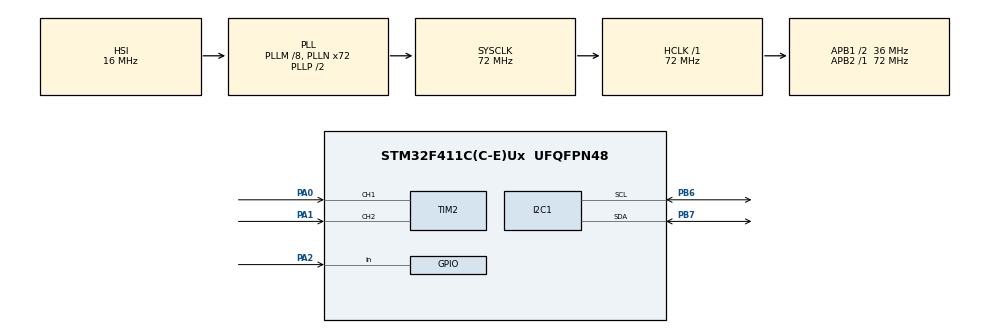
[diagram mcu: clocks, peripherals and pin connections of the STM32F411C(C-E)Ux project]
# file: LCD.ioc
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Mcu.Family=STM32F4
Mcu.Name=STM32F411C(C-E)Ux
Mcu.Package=UFQFPN48
NVIC.PriorityGroup=NVIC_PRIORITYGROUP_4
PA0-WKUP.Signal=S_TIM2_CH1_ETR
PA1.Signal=S_TIM2_CH2
PA13.Mode=Serial_Wire
PA13.Signal=SYS_JTMS-SWDIO
PA14.Mode=Serial_Wire
PA14.Signal=SYS_JTCK-SWCLK
PA2.GPIO_PuPd=GPIO_PULLUP
PA2.Signal=GPIO_Input
PB6.Mode=I2C
PB6.Signal=I2C1_SCL
PB7.Mode=I2C
PB7.Signal=I2C1_SDA
PH0\ -\ OSC_IN.Mode=HSE-External-Oscillator
PH0\ -\ OSC_IN.Signal=RCC_OSC_IN
PH1\ -\ OSC_OUT.Mode=HSE-External-Oscillator
PH1\ -\ OSC_OUT.Signal=RCC_OSC_OUT
ProjectManager.HeapSize=0x200
ProjectManager.StackSize=0x400
ProjectManager.TargetToolchain=STM32CubeIDE
RCC.48MHZClocksFreq_Value=36000000
RCC.AHBFreq_Value=72000000
RCC.APB1CLKDivider=RCC_HCLK_DIV2
RCC.APB1Freq_Value=36000000
RCC.APB1TimFreq_Value=72000000
RCC.APB2Freq_Value=72000000
RCC.APB2TimFreq_Value=72000000
RCC.CortexFreq_Value=72000000
RCC.HCLKFreq_Value=72000000
RCC.HSE_VALUE=25000000
RCC.HSI_VALUE=16000000
RCC.LSE_VALUE=32768
RCC.PLLM=8
RCC.PLLN=72
RCC.SYSCLKFreq_VALUE=72000000
RCC.SYSCLKSource=RCC_SYSCLKSOURCE_PLLCLK
RCC.VCOOutputFreq_Value=144000000
SH.S_TIM2_CH1_ETR.0=TIM2_CH1,Encoder_Interface
SH.S_TIM2_CH2.0=TIM2_CH2,Encoder_Interface
TIM2.EncoderMode=TIM_ENCODERMODE_TI12
TIM2.IC1Filter=10
board=custom

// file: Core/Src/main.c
/* USER CODE BEGIN Header */
/**
  ******************************************************************************
  * @file           : main.c
  * @brief          : Main program body
  ******************************************************************************
  * @attention
  *
  * Copyright (c) 2023 STMicroelectronics.
  * All rights reserved.
  *
  * This software is licensed under terms that can be found in the LICENSE file
  * in the root directory of this software component.
  * If no LICENSE file comes with this software, it is provided AS-IS.
  *
  ******************************************************************************
  */
/* USER CODE END Header */
#include "main.h"

/* USER CODE BEGIN Includes */
#include "LCD_I2C.h"
#include "string.h"

/* USER CODE END Includes */

/* USER CODE BEGIN PD */
#define SLAVE_ADDRESS 0X27
/* USER CODE END PD */

I2C_HandleTypeDef hi2c1;

TIM_HandleTypeDef htim2;

/* USER CODE BEGIN PV */
LCD_I2C_HandleTypeDef P_LCD;

char data[9] = "00000000";
int32_t rate = 0;
uint8_t condition = 0;

uint8_t current_state = 1;
uint8_t last_state = 1;
uint8_t deboucing_state = 1;
uint8_t is_deboucing = 0;
uint32_t deboucing_timer = 0;
/* USER CODE END PV */

void SystemClock_Config(void);
static void MX_GPIO_Init(void);
static void MX_I2C1_Init(void);
static void MX_TIM2_Init(void);

/* USER CODE BEGIN 0 */
void BUTTON_Handel()
{
	// detecting
	uint8_t temp_state = HAL_GPIO_ReadPin(GPIOA, GPIO_PIN_2);
	if(temp_state != deboucing_state)
	{
		deboucing_state = temp_state;
		deboucing_timer = HAL_GetTick();
		is_deboucing = 1;
	}

	// deboucing
	if(is_deboucing == 1 && (HAL_GetTick() - deboucing_timer) > 15)
	{
		current_state = deboucing_state;
		is_deboucing = 0;
	}

	if(current_state != last_state)
	{
		if(current_state == 0)
		{
			condition = 1;
		}
		else
		{
			condition = 0;
		}
		last_state = current_state;
	}
}
/* USER CODE END 0 */

int main(void)
{

  /* MCU Configuration--------------------------------------------------------*/

  /* Reset of all peripherals, Initializes the Flash interface and the Systick. */
  HAL_Init();

  /* Configure the system clock */
  SystemClock_Config();

  /* Initialize all configured peripherals */
  MX_GPIO_Init();
  MX_I2C1_Init();
  MX_TIM2_Init();
  /* USER CODE BEGIN 2 */
  LCD_I2C_Init(&P_LCD, &hi2c1, 20, 4, SLAVE_ADDRESS<<1);
  HAL_TIM_Encoder_Start(&htim2, TIM_CHANNEL_ALL);
  LCD_Set_Clear(&P_LCD);
  LCD_Set_Cursor(&P_LCD, 0, 0);
  LCD_Send_String(&P_LCD, "RES:");
  LCD_Set_Cursor(&P_LCD, 0, 1);
  LCD_Send_String(&P_LCD, "SET:");
  LCD_Set_Cursor(&P_LCD, 6, 1);
  LCD_Send_String(&P_LCD, &data);
  /* USER CODE END 2 */

  /* Infinite loop */
  while (1)
  {

    /* USER CODE BEGIN 3 */
	  BUTTON_Handel();
	  rate = (TIM2 -> CNT) >> 2;
	  if(rate > 10000)
	  {
		  LCD_Set_Cursor(&P_LCD, 0, 2);
		  LCD_Send_String(&P_LCD, "PLEASE REVERSE!!!");
	  }
	  else
	  {
		  LCD_Set_Cursor(&P_LCD, 0, 2);
		  LCD_Send_String(&P_LCD, "                 ");
		  int8_t temp = 0;
		  for(int i = 0; i < 8; i++)
		  {
			  temp = rate%(10);
			  data[8 - 1 -i] = temp + 48;
			  rate /= 10;
		  }
		  LCD_Set_Cursor(&P_LCD, 6, 0);
		  LCD_Send_String(&P_LCD, &data);
	  }
	  if(condition)
	  {
		  LCD_Set_Cursor(&P_LCD, 6, 1);
		  LCD_Send_String(&P_LCD, &data);
	  }
  }
  /* USER CODE END 3 */
}

void SystemClock_Config(void)
{
  RCC_OscInitTypeDef RCC_OscInitStruct = {0};
  RCC_ClkInitTypeDef RCC_ClkInitStruct = {0};

  /** Configure the main internal regulator output voltage
  */
  __HAL_RCC_PWR_CLK_ENABLE();
  __HAL_PWR_VOLTAGESCALING_CONFIG(PWR_REGULATOR_VOLTAGE_SCALE1);

  /** Initializes the RCC Oscillators according to the specified parameters
  * in the RCC_OscInitTypeDef structure.
  */
  RCC_OscInitStruct.OscillatorType = RCC_OSCILLATORTYPE_HSI;
  RCC_OscInitStruct.HSIState = RCC_HSI_ON;
  RCC_OscInitStruct.HSICalibrationValue = RCC_HSICALIBRATION_DEFAULT;
  RCC_OscInitStruct.PLL.PLLState = RCC_PLL_ON;
  RCC_OscInitStruct.PLL.PLLSource = RCC_PLLSOURCE_HSI;
  RCC_OscInitStruct.PLL.PLLM = 8;
  RCC_OscInitStruct.PLL.PLLN = 72;
  RCC_OscInitStruct.PLL.PLLP = RCC_PLLP_DIV2;
  RCC_OscInitStruct.PLL.PLLQ = 4;
  if (HAL_RCC_OscConfig(&RCC_OscInitStruct) != HAL_OK)
  {
    Error_Handler();
  }

  /** Initializes the CPU, AHB and APB buses clocks
  */
  RCC_ClkInitStruct.ClockType = RCC_CLOCKTYPE_HCLK|RCC_CLOCKTYPE_SYSCLK
                              |RCC_CLOCKTYPE_PCLK1|RCC_CLOCKTYPE_PCLK2;
  RCC_ClkInitStruct.SYSCLKSource = RCC_SYSCLKSOURCE_PLLCLK;
  RCC_ClkInitStruct.AHBCLKDivider = RCC_SYSCLK_DIV1;
  RCC_ClkInitStruct.APB1CLKDivider = RCC_HCLK_DIV2;
  RCC_ClkInitStruct.APB2CLKDivider = RCC_HCLK_DIV1;

  if (HAL_RCC_ClockConfig(&RCC_ClkInitStruct, FLASH_LATENCY_2) != HAL_OK)
  {
    Error_Handler();
  }
}

static void MX_I2C1_Init(void)
{

  hi2c1.Instance = I2C1;
  hi2c1.Init.ClockSpeed = 100000;
  hi2c1.Init.DutyCycle = I2C_DUTYCYCLE_2;
  hi2c1.Init.OwnAddress1 = 0;
  hi2c1.Init.AddressingMode = I2C_ADDRESSINGMODE_7BIT;
  hi2c1.Init.DualAddressMode = I2C_DUALADDRESS_DISABLE;
  hi2c1.Init.OwnAddress2 = 0;
  hi2c1.Init.GeneralCallMode = I2C_GENERALCALL_DISABLE;
  hi2c1.Init.NoStretchMode = I2C_NOSTRETCH_DISABLE;
  if (HAL_I2C_Init(&hi2c1) != HAL_OK)
  {
    Error_Handler();
  }

}

static void MX_TIM2_Init(void)
{

  TIM_Encoder_InitTypeDef sConfig = {0};
  TIM_MasterConfigTypeDef sMasterConfig = {0};

  htim2.Instance = TIM2;
  htim2.Init.Prescaler = 0;
  htim2.Init.CounterMode = TIM_COUNTERMODE_UP;
  htim2.Init.Period = 4294967295;
  htim2.Init.ClockDivision = TIM_CLOCKDIVISION_DIV1;
  htim2.Init.AutoReloadPreload = TIM_AUTORELOAD_PRELOAD_DISABLE;
  sConfig.EncoderMode = TIM_ENCODERMODE_TI12;
  sConfig.IC1Polarity = TIM_ICPOLARITY_RISING;
  sConfig.IC1Selection = TIM_ICSELECTION_DIRECTTI;
  sConfig.IC1Prescaler = TIM_ICPSC_DIV1;
  sConfig.IC1Filter = 10;
  sConfig.IC2Polarity = TIM_ICPOLARITY_RISING;
  sConfig.IC2Selection = TIM_ICSELECTION_DIRECTTI;
  sConfig.IC2Prescaler = TIM_ICPSC_DIV1;
  sConfig.IC2Filter = 0;
  if (HAL_TIM_Encoder_Init(&htim2, &sConfig) != HAL_OK)
  {
    Error_Handler();
  }
  sMasterConfig.MasterOutputTrigger = TIM_TRGO_RESET;
  sMasterConfig.MasterSlaveMode = TIM_MASTERSLAVEMODE_DISABLE;
  if (HAL_TIMEx_MasterConfigSynchronization(&htim2, &sMasterConfig) != HAL_OK)
  {
    Error_Handler();
  }

}

static void MX_GPIO_Init(void)
{
  GPIO_InitTypeDef GPIO_InitStruct = {0};

  /* GPIO Ports Clock Enable */
  __HAL_RCC_GPIOH_CLK_ENABLE();
  __HAL_RCC_GPIOA_CLK_ENABLE();
  __HAL_RCC_GPIOB_CLK_ENABLE();

  /*Configure GPIO pin : PA2 */
  GPIO_InitStruct.Pin = GPIO_PIN_2;
  GPIO_InitStruct.Mode = GPIO_MODE_INPUT;
  GPIO_InitStruct.Pull = GPIO_PULLUP;
  HAL_GPIO_Init(GPIOA, &GPIO_InitStruct);

}

void Error_Handler(void)
{
  __disable_irq();
  while (1)
  {
  }
}
